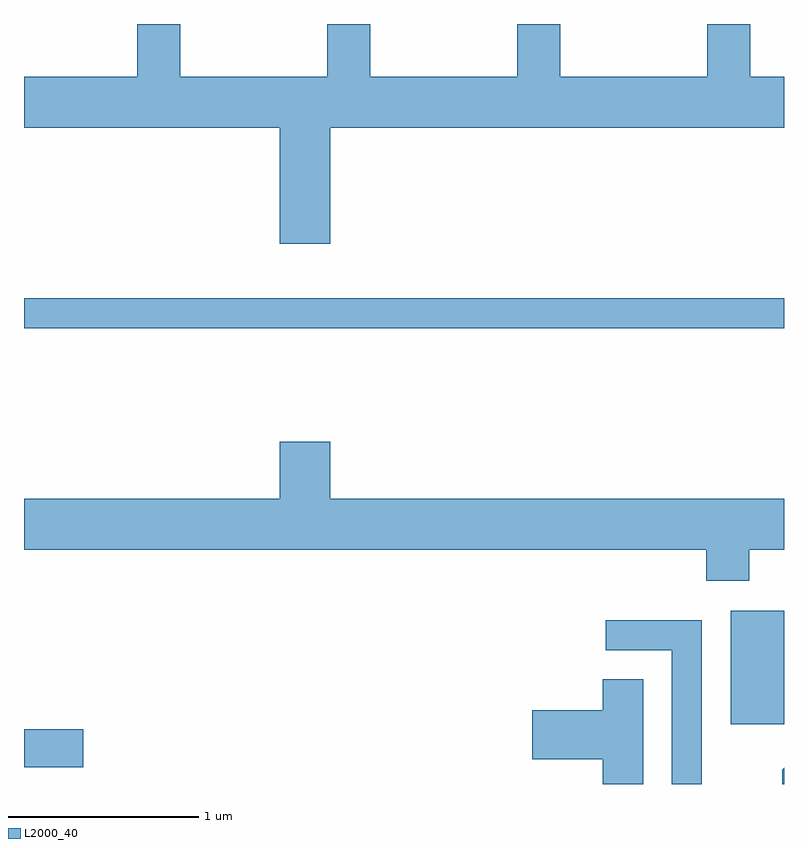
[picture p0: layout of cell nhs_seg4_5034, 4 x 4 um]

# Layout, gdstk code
import gdstk
lib = gdstk.Library(unit=1e-6, precision=1e-09)
def R(c, l, rs):  # rectangles x0, y0, x1, y1
    for r in rs: c.add(gdstk.rectangle(r[:2], r[2:], *l))
def P(c, l, *ps):  # polygons
    for p in ps: c.add(gdstk.Polygon(p, *l))
L2000_40 = (2000, 40)

nhs_seg4_5034 = lib.new_cell('nhs_seg4_5034')
R(nhs_seg4_5034, L2000_40, [(333.611,1258.071,333.924,1258.269), (337.331,1258.296,337.611,1258.894), (333.611,1260.381,337.611,1260.539)])
P(nhs_seg4_5034, L2000_40, [(337.611,1261.704),(337.434,1261.704),(337.434,1261.982),(337.206,1261.982),(337.206,1261.704),(336.434,1261.704),(336.434,1261.982),(336.206,1261.982),(336.206,1261.704),(335.434,1261.704),(335.434,1261.982),(335.206,1261.982),(335.206,1261.704),(334.434,1261.704),(334.434,1261.982),(334.206,1261.982),(334.206,1261.704),(333.611,1261.704),(333.611,1261.436),(334.956,1261.436),(334.956,1260.826),(335.224,1260.826),(335.224,1261.436),(337.611,1261.436)],
  [(337.429,1259.216),(337.611,1259.216),(337.611,1259.484),(335.224,1259.484),(335.224,1259.784),(334.956,1259.784),(334.956,1259.484),(333.611,1259.484),(333.611,1259.216),(337.201,1259.216),(337.201,1259.051),(337.429,1259.051)],
  [(337.179,1258.844),(336.673,1258.844),(336.673,1258.686),(337.021,1258.686),(337.021,1257.982),(337.179,1257.982)],
  [(336.869,1258.534),(336.656,1258.534),(336.656,1258.369),(336.286,1258.369),(336.286,1258.111),(336.656,1258.111),(336.656,1257.982),(336.869,1257.982)],
  [(337.611,1258.067),(337.601,1258.057),(337.601,1257.982),(337.611,1257.982)])

lib.write_gds('nhs_seg4_5034.gds')
